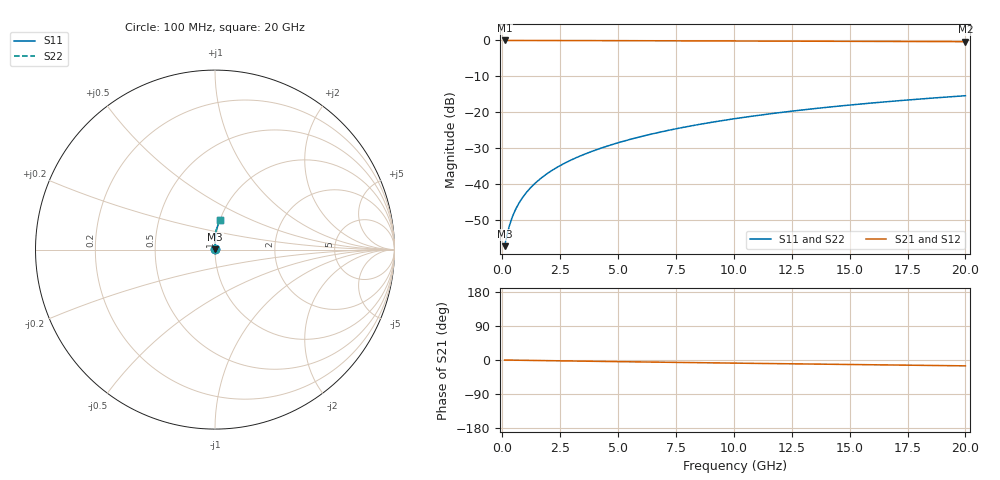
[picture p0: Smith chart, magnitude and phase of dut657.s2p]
! Touchstone file exported from HFSS 2024.1.0
!  File:  C:/UserFiles/LocalFiles/RDL_TSV_Batchsim/temp_RDL_bottom_657_1779785585.aedt
!  Generated:  04:55:47 PM May 26, 2026
!  Design:  RDL_bottom
!  Project:  temp_RDL_bottom_657_1779785585
!  Setup:  Setup1
!  Solution:  Sweep
! Variables:
!  dtsv = 10.80580581um
!  hbump = 3um
!  htsv = 99.43um
!  ldown = 178.31um
!  lrdl = 100um
!  p = 40
!  p1 = 54.91um
!  rhole = 1um
!  t = 450um
!  tdown = 3um
!  trdl = 3.915915916um
!  wdown = 26.15um
!  wrdl = 20um
# GHz S MA R 50.000000
! Terminal data exported
! Port[1] = RDL1_T1
! Port[2] = RDL1_T2
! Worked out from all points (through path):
!   200 points, 100 MHz to 20 GHz, reference 50 ohm
!   highest |S21| = -0.01 dB at 100 MHz (marker M1); lowest = -0.3 dB at 20 GHz (marker M2)
!   group delay of S21, straight-line fit = 2.12 ps
!   lowest |S11| = -57.4 dB at 100 MHz (marker M3), VSWR 1.00, Z = 50.1 + j0.0778 ohm
!   |S11| at or under -10 dB: start of sweep to end of sweep
!   |S22| runs from -57.4 to -15.4 dB; largest |S21 - S12| = 5e-15
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0.1  0.001343 35.3  0.9989 -0.1  0.9989 -0.1  0.001343 35.3
! Gamma 0 0 0 0
! Port Impedance 50 0 50 0
0.2  0.001908 53.4  0.9988 -0.2  0.9988 -0.2  0.001908 53.4
0.3  0.002552 62.4  0.9988 -0.3  0.9988 -0.3  0.002552 62.4
0.4  0.003211 67.6  0.9987 -0.4  0.9987 -0.4  0.003211 67.6
0.5  0.003875 71.2  0.9986 -0.5  0.9986 -0.5  0.003875 71.2
0.6  0.004542 73.8  0.9986 -0.5  0.9986 -0.5  0.004542 73.8
0.8  0.005888 77.5  0.9985 -0.7  0.9985 -0.7  0.005888 77.5
1.1  0.007939 81.1  0.9983 -1.0  0.9983 -1.0  0.007939 81.1
1.3  0.009325 82.7  0.9981 -1.2  0.9981 -1.2  0.009325 82.7
1.6  0.01143 84.4  0.9978 -1.4  0.9978 -1.4  0.01143 84.4
2.1  0.015 86.4  0.9973 -1.9  0.9973 -1.9  0.015 86.4
2.7  0.01939 88.0  0.9965 -2.4  0.9965 -2.4  0.01939 88.0
3.5  0.02542 89.3  0.9953 -3.1  0.9953 -3.1  0.02542 89.3
4.2  0.03087 90.0  0.994 -3.7  0.994 -3.7  0.03087 90.0
5  0.03729 90.4  0.9924 -4.3  0.9924 -4.3  0.03729 90.4
5.9  0.04473 90.6  0.9905 -5.1  0.9905 -5.1  0.04473 90.6
6.8  0.05237 90.4  0.9885 -5.8  0.9885 -5.8  0.05237 90.4
8.4  0.06631 89.7  0.985 -7.0  0.985 -7.0  0.06631 89.7
10.1  0.08142 88.6  0.9812 -8.3  0.9812 -8.3  0.08142 88.6
13.4  0.111 85.9  0.9743 -10.7  0.9743 -10.7  0.111 85.9
16.7  0.1404 83.0  0.9675 -13.1  0.9675 -13.1  0.1404 83.0
20  0.1691 80.1  0.9607 -15.4  0.9607 -15.4  0.1691 80.1
